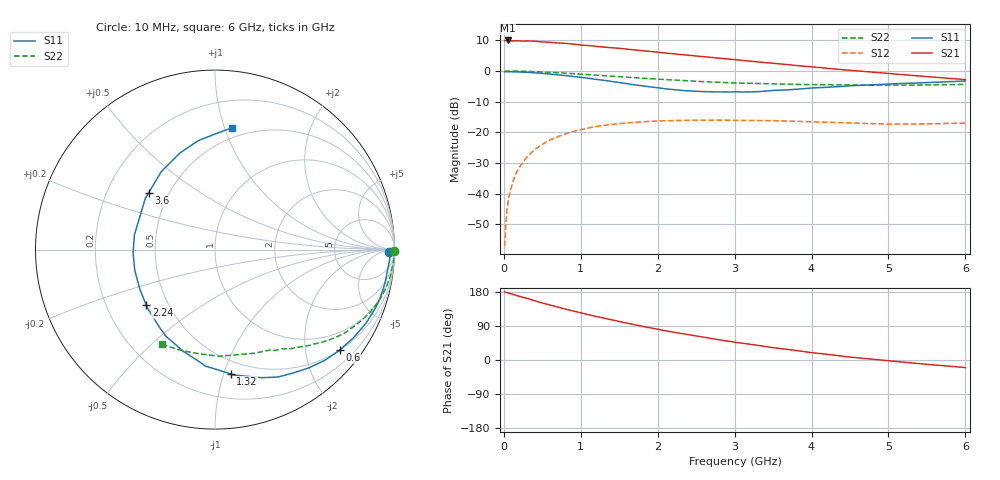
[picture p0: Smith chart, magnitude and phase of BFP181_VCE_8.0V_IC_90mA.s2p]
! Infineon Technologies  Discrete & RF Semiconductors
! BFP181
! VCE = 8.0 V,  IC =  90 mA
! Common Emitter S-Parameters:  Jan 2016
# GHz  S  MA  R  50
!  f  S11  S21  S12  S22
! GHz  MAG  ANG  MAG  ANG  MAG  ANG  MAG  ANG
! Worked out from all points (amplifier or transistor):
!   210 points, 10 MHz to 6 GHz, reference 50 ohm
!   highest |S21| = 9.9 dB at 50 MHz (marker M1)
!   |S21| within 3 dB of that: start of sweep to 1.672 GHz
!   unconditionally stable (mu >= 1): 3.245 GHz to end of sweep
!   at 185 MHz: K = 0.06, MSG = 21.0 dB, |S12| = -32.1 dB
!   at 1.52 GHz: K = 0.49, MSG = 12.2 dB, |S12| = -17.1 dB
!   at 6 GHz: K = 1.29, MAG = 3.9 dB, |S12| = -17.0 dB
!   S11 on the Smith chart (normalised r, x): 10 MHz: 59, -25; 600 MHz: 0.50, -2.75; 1.32 GHz: 0.39, -1.05; 2.24 GHz: 0.38, -0.31; 3.6 GHz: 0.39, +0.32; 6 GHz: 0.41, +1.06
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0.01  0.9717 -0.7  3.095 179.6  0.0014 83.2  0.9989 -0.3
0.03  0.976 -2.0  3.132 178.6  0.0037 86.9  0.9925 -0.9
0.05  0.9755 -3.0  3.139 177.1  0.0068 87.1  0.9965 -1.6
0.125  0.9673 -8.4  3.09 172.7  0.0167 83.4  0.996 -3.9
0.22  0.9606 -14.5  3.077 166.9  0.0291 80.6  0.9907 -6.9
0.3  0.9522 -19.8  3.088 162.8  0.0395 76.8  0.9859 -9.3
0.4  0.9362 -25.9  3.053 156.2  0.0519 72.7  0.9772 -12.4
0.6  0.8923 -38.9  2.94 145.1  0.0751 63.7  0.9527 -18.2
0.8  0.8416 -51.5  2.828 134.3  0.0945 56.1  0.9224 -23.6
1.02  0.7851 -64.8  2.635 123.3  0.1122 48.1  0.8846 -28.9
1.32  0.6987 -82.9  2.431 109.4  0.131 38.4  0.8364 -35.4
1.5  0.6515 -94.6  2.35 101.4  0.1388 33.7  0.8061 -38.7
1.8  0.5714 -113.3  2.142 88.8  0.1486 26.6  0.7606 -43.8
2.02  0.527 -126.9  2.006 80.4  0.1538 21.9  0.734 -47.2
2.24  0.4914 -141.2  1.883 72.1  0.156 17.4  0.7065 -50.7
2.66  0.4581 -169.1  1.672 58.1  0.1578 10.7  0.6632 -56.8
3.1  0.4538 164.3  1.487 44.3  0.1562 4.9  0.6319 -63.2
3.6  0.4864 139.6  1.298 30.2  0.1538 0.2  0.6128 -70.9
4.1  0.5342 121.3  1.138 17.3  0.1473 -3.0  0.5968 -80.0
4.5  0.5735 109.7  1.025 7.6  0.1422 -5.1  0.5942 -87.9
5.1  0.6198 96.7  0.886 -3.9  0.1365 -3.9  0.5867 -100.2
6  0.6859 81.9  0.724 -20.0  0.1419 -1.3  0.6053 -119.3
